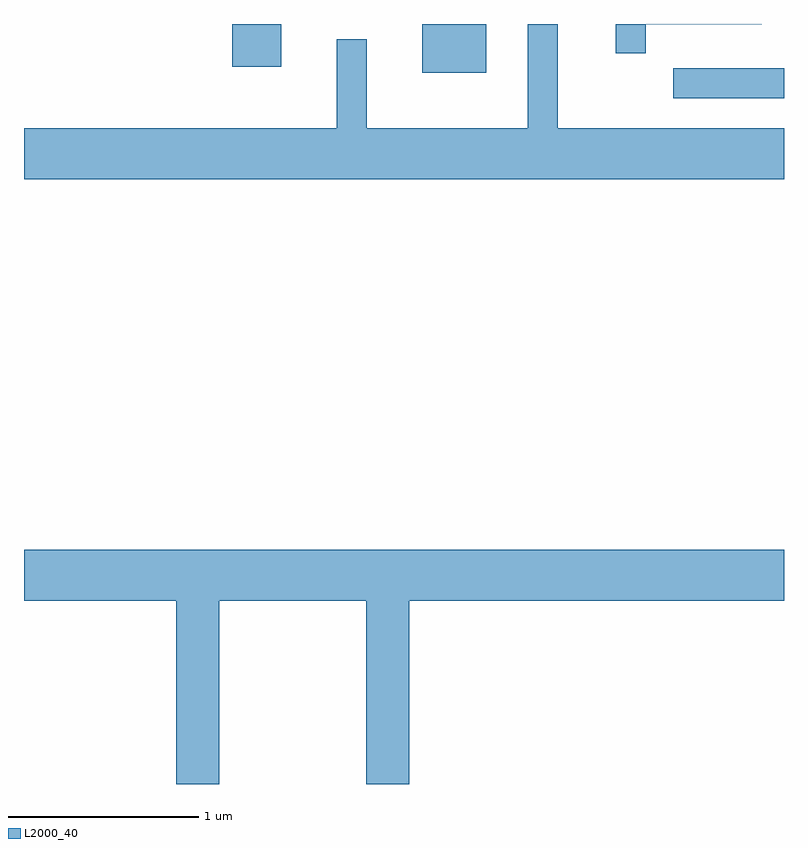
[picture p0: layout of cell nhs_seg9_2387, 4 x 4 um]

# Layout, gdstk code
import gdstk
lib = gdstk.Library(unit=1e-6, precision=1e-09)
def R(c, l, rs):  # rectangles x0, y0, x1, y1
    for r in rs: c.add(gdstk.rectangle(r[:2], r[2:], *l))
def P(c, l, *ps):  # polygons
    for p in ps: c.add(gdstk.Polygon(p, *l))
L2000_40 = (2000, 40)

nhs_seg9_2387 = lib.new_cell('nhs_seg9_2387')
R(nhs_seg9_2387, L2000_40, [(259.028,1970.041,259.611,1970.199), (257.706,1970.176,258.044,1970.432), (256.706,1970.206,256.964,1970.432)])
P(nhs_seg9_2387, L2000_40, [(259.611,1969.884),(258.419,1969.884),(258.419,1970.432),(258.261,1970.432),(258.261,1969.884),(257.414,1969.884),(257.414,1970.353),(257.256,1970.353),(257.256,1969.884),(255.611,1969.884),(255.611,1969.616),(259.611,1969.616)],
  [(258.884,1970.431),(259.494,1970.431),(259.494,1970.432),(258.726,1970.432),(258.726,1970.278),(258.884,1970.278)],
  [(256.639,1967.396),(257.411,1967.396),(257.411,1966.432),(257.639,1966.432),(257.639,1967.396),(259.611,1967.396),(259.611,1967.664),(255.611,1967.664),(255.611,1967.396),(256.411,1967.396),(256.411,1966.432),(256.639,1966.432)])

lib.write_gds('nhs_seg9_2387.gds')
